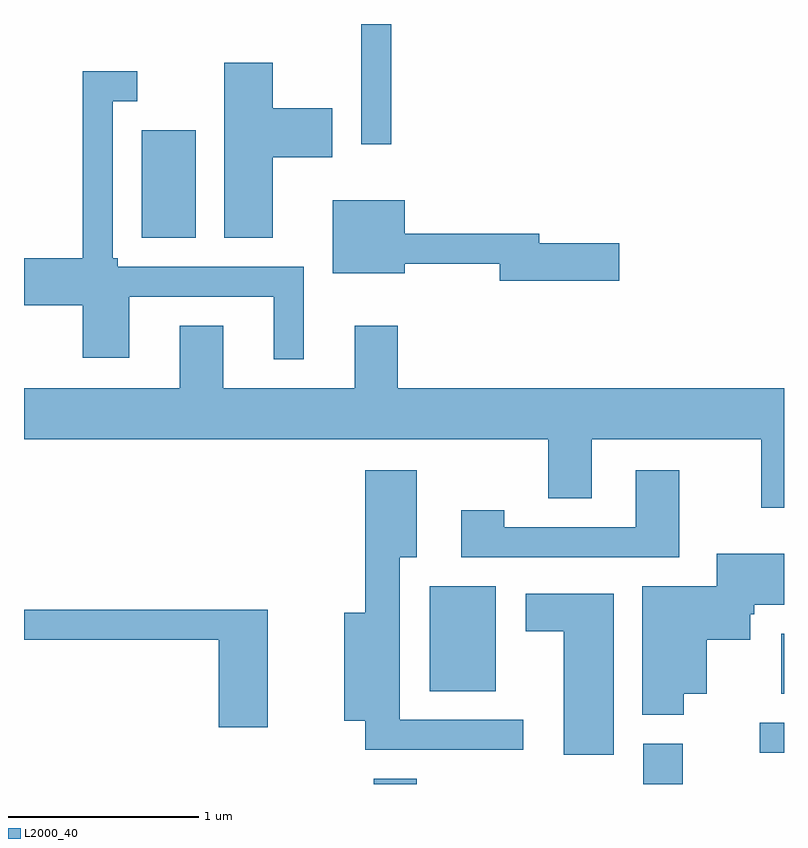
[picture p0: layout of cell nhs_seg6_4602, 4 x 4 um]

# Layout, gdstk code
import gdstk
lib = gdstk.Library(unit=1e-6, precision=1e-09)
def R(c, l, rs):  # rectangles x0, y0, x1, y1
    for r in rs: c.add(gdstk.rectangle(r[:2], r[2:], *l))
def P(c, l, *ps):  # polygons
    for p in ps: c.add(gdstk.Polygon(p, *l))
L2000_40 = (2000, 40)

nhs_seg6_4602 = lib.new_cell('nhs_seg6_4602')
R(nhs_seg6_4602, L2000_40, [(327.451,1608.162,327.679,1608.189), (328.871,1608.162,329.079,1608.374), (329.483,1608.326,329.611,1608.484), (329.596,1608.636,329.611,1608.954), (327.746,1608.651,328.094,1609.204), (326.231,1611.036,326.514,1611.604), (327.386,1611.528,327.544,1612.162)])
P(nhs_seg6_4602, L2000_40, [(326.919,1611.461),(327.234,1611.461),(327.234,1611.719),(326.919,1611.719),(326.919,1611.959),(326.666,1611.959),(326.666,1611.036),(326.919,1611.036)],
  [(327.084,1610.884),(326.104,1610.884),(326.104,1610.929),(326.079,1610.929),(326.079,1611.756),(326.208,1611.756),(326.208,1611.914),(325.921,1611.914),(325.921,1610.929),(325.611,1610.929),(325.611,1610.681),(325.921,1610.681),(325.921,1610.406),(326.164,1610.406),(326.164,1610.726),(326.926,1610.726),(326.926,1610.398),(327.084,1610.398)],
  [(328.744,1611.009),(328.324,1611.009),(328.324,1611.059),(327.614,1611.059),(327.614,1611.234),(327.236,1611.234),(327.236,1610.851),(327.614,1610.851),(327.614,1610.901),(328.116,1610.901),(328.116,1610.811),(328.744,1610.811)],
  [(329.611,1610.244),(327.579,1610.244),(327.579,1610.574),(327.351,1610.574),(327.351,1610.244),(326.659,1610.244),(326.659,1610.574),(326.431,1610.574),(326.431,1610.244),(325.611,1610.244),(325.611,1609.976),(328.371,1609.976),(328.371,1609.666),(328.599,1609.666),(328.599,1609.976),(329.491,1609.976),(329.491,1609.616),(329.611,1609.616)],
  [(328.238,1608.499),(327.589,1608.499),(327.589,1609.356),(327.679,1609.356),(327.679,1609.814),(327.406,1609.814),(327.406,1609.064),(327.296,1609.064),(327.296,1608.496),(327.406,1608.496),(327.406,1608.341),(328.238,1608.341)],
  [(329.059,1609.814),(328.831,1609.814),(328.831,1609.514),(328.139,1609.514),(328.139,1609.604),(327.911,1609.604),(327.911,1609.356),(329.059,1609.356)],
  [(329.084,1608.636),(329.204,1608.636),(329.204,1608.921),(329.434,1608.921),(329.434,1609.056),(329.454,1609.056),(329.454,1609.106),(329.611,1609.106),(329.611,1609.374),(329.256,1609.374),(329.256,1609.204),(328.866,1609.204),(328.866,1608.526),(329.084,1608.526)],
  [(328.714,1609.164),(328.251,1609.164),(328.251,1608.966),(328.451,1608.966),(328.451,1608.316),(328.714,1608.316)],
  [(326.894,1609.079),(325.611,1609.079),(325.611,1608.921),(326.636,1608.921),(326.636,1608.461),(326.894,1608.461)])

lib.write_gds('nhs_seg6_4602.gds')
